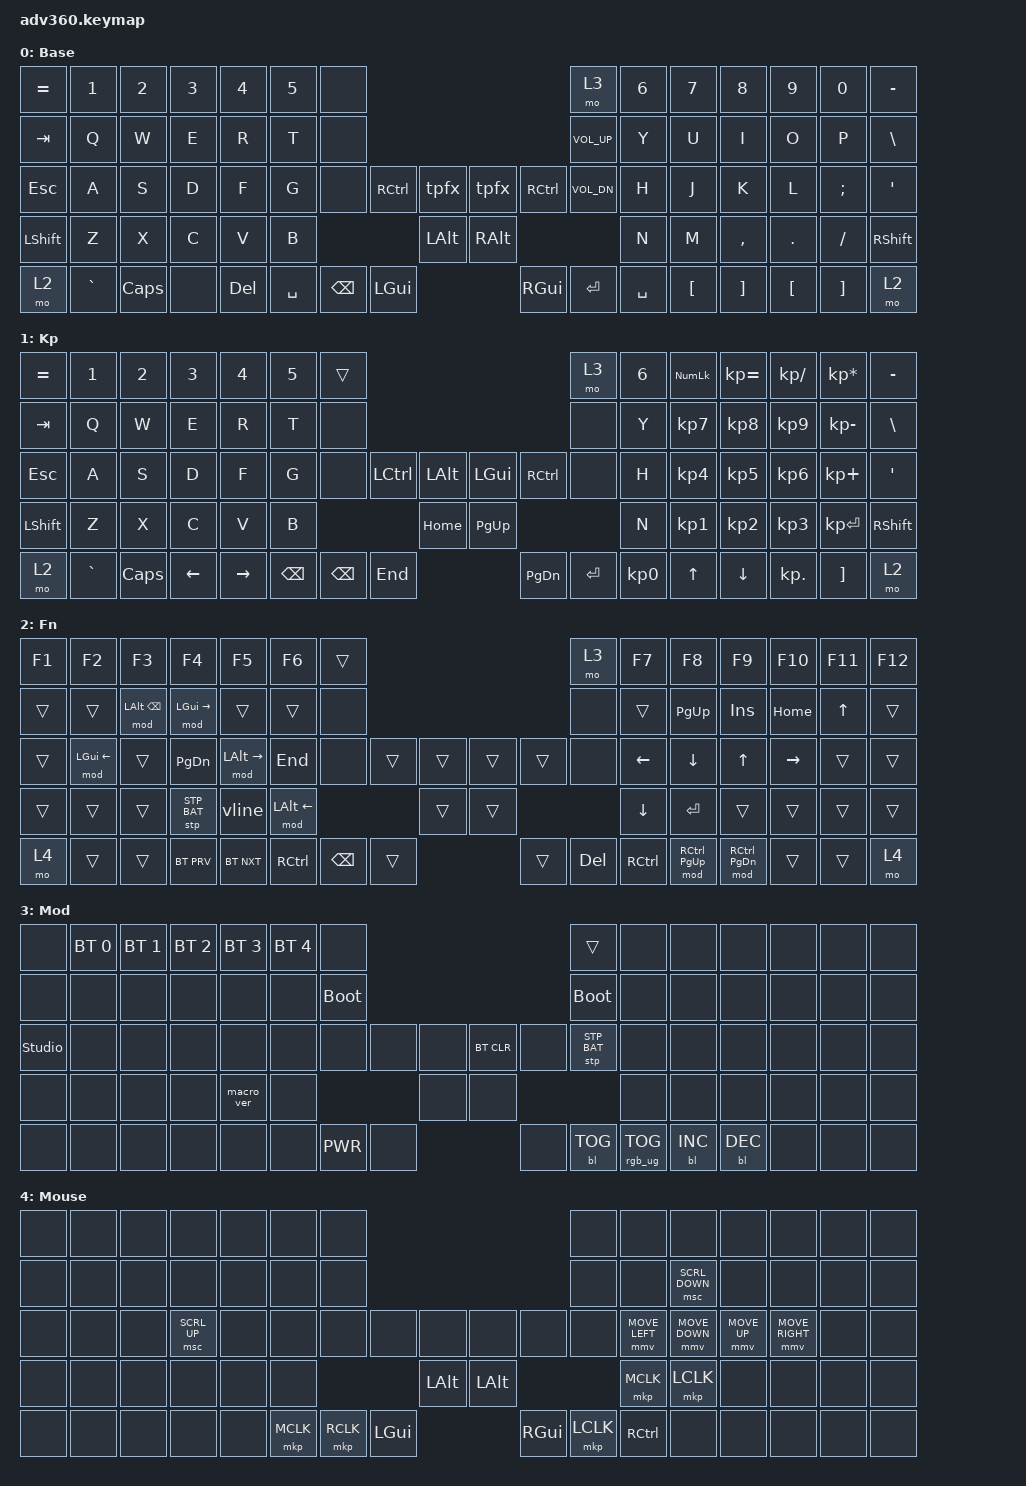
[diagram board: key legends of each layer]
#include <behaviors.dtsi>
#include <dt-bindings/zmk/keys.h>
#include <dt-bindings/zmk/bt.h>
#include <dt-bindings/zmk/rgb.h>
#include <dt-bindings/zmk/stp.h>
#include <dt-bindings/zmk/backlight.h>

#define ZMK_POINTING_DEFAULT_MOVE_VAL 5000
#define ZMK_POINTING_DEFAULT_SCRL_VAL 40

#include <dt-bindings/zmk/pointing.h>

&mt {
    flavor = "balanced";
    quick-tap-ms = <150>;
};

&lt {
    flavor = "balanced";
    quick-tap-ms = <150>;
};

/ {
    macros {
        tpfx: tmux_prefix {
            compatible = "zmk,behavior-macro";
            #binding-cells = <0>;
            bindings
                = <&macro_press &kp RCTRL>
                , <&macro_tap &kp SPACE>
                , <&macro_release &kp RCTRL>
                ;
        };

        mod: hold_mod {
            compatible = "zmk,behavior-macro-two-param";
            #binding-cells = <2>;
            bindings
                = <&macro_param_1to1>
                , <&macro_press &kp MACRO_PLACEHOLDER>
                , <&macro_param_2to1>
                , <&macro_tap &kp MACRO_PLACEHOLDER>
                , <&macro_param_1to1>
                , <&macro_release &kp MACRO_PLACEHOLDER>
                ;
        };

        wrps: wrap_around_shift {
            compatible = "zmk,behavior-macro-two-param";
            #binding-cells = <2>;
            bindings
                = <&macro_press &kp LSHFT>
                , <&macro_param_1to1>
                , <&macro_tap &kp MACRO_PLACEHOLDER>
                , <&macro_param_2to1>
                , <&macro_tap &kp MACRO_PLACEHOLDER>
                , <&macro_release &kp LSHFT>
                ;
        };

        vline: select_whole_line {
            compatible = "zmk,behavior-macro";
            #binding-cells = <0>;
            bindings
                = <&macro_press &kp LGUI>
                , <&macro_tap &kp LEFT>
                , <&macro_release &kp LGUI>
                , <&macro_press &kp LSHFT>
                , <&macro_press &kp LGUI>
                , <&macro_tap &kp RIGHT>
                , <&macro_release &kp LGUI>
                , <&macro_release &kp LSHFT>
                ;
        };
    };

    behaviors {
      #include "macros.dtsi"
      #include "version.dtsi"

      hm: homerow_mods {
          compatible = "zmk,behavior-hold-tap";
          label = "HOMEROW_MODS";
          #binding-cells = <2>;
          tapping-term-ms = <200>;
          quick_tap_ms = <175>;
          flavor = "tap-preferred";
          bindings = <&kp>, <&kp>;
      };
    };

  keymap {
    compatible = "zmk,keymap";

    default_layer {
      display-name = "Base";
      bindings = <
        &kp EQUAL &kp N1    &kp N2   &kp N3   &kp N4     &kp N5 &none                                                           &mo 3 &kp N6 &kp N7 &kp N8    &kp N9   &kp N0   &kp MINUS
        &kp TAB   &kp Q     &kp W    &kp E    &kp R      &kp T  &none                                                            &kp C_VOL_UP &kp Y  &kp U  &kp I     &kp O    &kp P    &kp BSLH
        &kp ESC   &kp A     &kp S    &kp D    &kp F      &kp G  &none               &kp RCTRL &tpfx &tpfx &kp RCTRL                  &kp C_VOL_DN &kp H  &kp J  &kp K     &kp L    &kp SEMI &kp SQT
        &kp LSHFT &kp Z     &kp X    &kp C    &kp V      &kp B                            &kp LALT &kp RALT                           &kp N  &kp M  &kp COMMA &kp DOT  &kp FSLH &kp RSHFT
        &mo 2     &kp GRAVE &kp CAPS &none    &kp DEL     &kp SPACE &kp BSPC   &kp LGUI  &kp RGUI &kp ENTER &kp SPACE          &kp LBKT &kp RBKT  &kp LBKT &kp RBKT &mo 2
      >;
    };
    keypad {
      display-name = "Kp";
      bindings = <
        &kp EQUAL &kp N1    &kp N2   &kp N3   &kp N4     &kp N5 &trans                                                           &mo 3 &kp N6 &kp KP_NUM &kp KP_EQUAL &kp KP_DIVIDE &kp KP_MULTIPLY &kp MINUS
        &kp TAB   &kp Q     &kp W    &kp E    &kp R      &kp T  &none                                                            &none &kp Y  &kp KP_N7  &kp KP_N8    &kp KP_N9     &kp KP_MINUS    &kp BSLH
        &kp ESC   &kp A     &kp S    &kp D    &kp F      &kp G  &none           &kp LCTRL &kp LALT &kp LGUI  &kp RCTRL           &none &kp H  &kp KP_N4  &kp KP_N5    &kp KP_N6     &kp KP_PLUS     &kp SQT
        &kp LSHFT &kp Z     &kp X    &kp C    &kp V      &kp B                            &kp HOME &kp PG_UP                           &kp N  &kp KP_N1  &kp KP_N2    &kp KP_N3     &kp KP_ENTER    &kp RSHFT
        &mo 2     &kp GRAVE &kp CAPS &kp LEFT &kp RIGHT                &kp BSPC &kp BSPC  &kp END  &kp PG_DN &kp ENTER &kp KP_N0              &kp UP     &kp DOWN     &kp KP_DOT    &kp RBKT        &mo 2
      >;
    };
    fn {
      display-name = "Fn";
      bindings = <
        &kp F1 &kp F2 &kp F3 &kp F4 &kp F5 &kp F6 &trans                                           &mo 3 &kp F7 &kp F8 &kp F9 &kp F10 &kp F11 &kp F12
        &trans &trans &mod LALT BSPC &mod LGUI RIGHT &trans &trans  &none                                       &none &trans &kp PG_UP &kp INS &kp HOME &kp UP  &trans
        &trans &mod LGUI LEFT &trans &kp PG_DN &mod LALT RIGHT &kp END  &none        &trans &trans &trans &trans        &none &kp LEFT &kp DOWN &kp UP &kp RIGHT  &trans  &trans
        &trans &trans &trans &stp STP_BAT &vline &mod LALT LEFT                      &trans &trans                     &kp DOWN &kp ENTER &trans &trans  &trans  &trans
        &mo 4 &trans &trans &bt BT_PRV &bt BT_NXT                &kp RCTRL &kp BSPC &trans &trans &kp DEL &kp RCTRL              &mod RCTRL PG_UP &mod RCTRL PG_DN &trans  &trans  &mo 4
      >;
    };
    mod {
      display-name = "Mod";
      bindings = <
        &none &bt BT_SEL 0 &bt BT_SEL 1 &bt BT_SEL 2 &bt BT_SEL 3 &bt BT_SEL 4 &none                                                                     &trans                 &none        &none        &none        &none &none &none
        &none &none        &none        &none        &none        &none        &bootloader                                                               &bootloader            &none        &none        &none        &none &none &none
        &studio_unlock &none        &none        &none        &none        &none        &none                   &none &none &bt BT_CLR &none                      &stp STP_BAT &none        &none        &none        &none &none &none
        &none &none        &none        &none        &macro_ver   &none                                      &none &none                                                        &none        &none        &none        &none &none &none
        &none &none        &none        &none        &none                                       &none &kp K_PWR &none &none      &bl BL_TOG &rgb_ug RGB_TOG                                     &bl BL_INC   &bl BL_DEC   &none &none &none
      >;
    };
    mous {
      display-name = "Mouse";
      bindings = <
        &none &none &none &none &none &none &none                                                                                                &none &none &none &none &none &none &none
        &none &none        &none        &none        &none        &none        &none                                                               &none &none &msc SCRL_DOWN &none &none &none &none
        &none &none        &none        &msc SCRL_UP        &none        &none        &none                   &none &none &none &none                      &none &mmv MOVE_LEFT &mmv MOVE_DOWN &mmv MOVE_UP &mmv MOVE_RIGHT &none &none
        &none &none        &none        &none        &none   &none                                      &kp LALT &kp LALT                                       &mkp MCLK &mkp LCLK &none &none &none &none
        &none &none        &none        &none        &none                                       &mkp MCLK &mkp RCLK &kp LGUI &kp RGUI &mkp LCLK &kp RCTRL                            &none &none &none &none &none
      >;
    };
    extra1 {
      display-name = "Red";
      status = "reserved";
    };

    extra2 {
      display-name = "Purple";
      status = "reserved";
    };

    extra3 {
      display-name = "Cyan";
      status = "reserved";
    };

    extra4 {
      display-name = "Yellow";
      status = "reserved";
    };
  };
};
